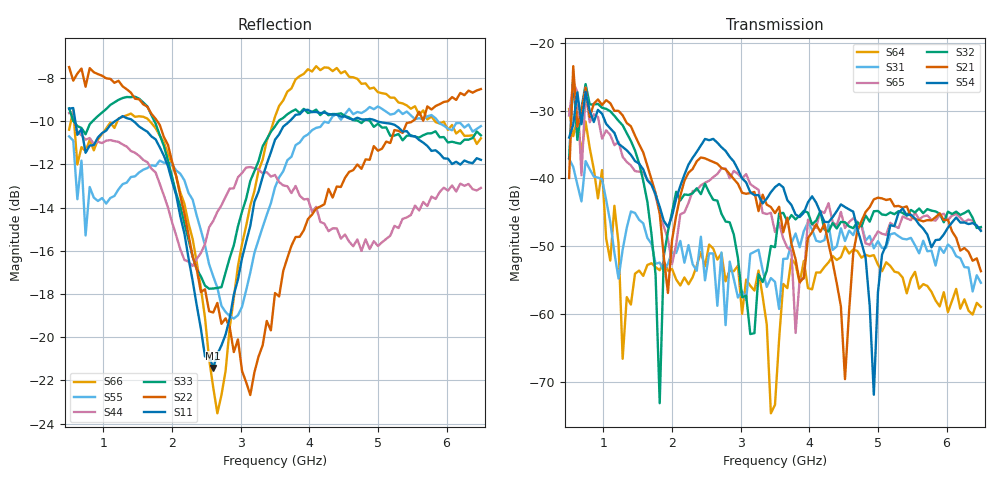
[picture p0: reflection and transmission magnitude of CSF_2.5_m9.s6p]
!Keysight Technologies,M9804A,MY58100912,A.14.10.03
!Date: Thursday, April 27, 2023 10:28:33
!Correction: S11(C  6-Port  )
!S12(C  6-Port  )
!S13(C  6-Port  )
!S14(C  6-Port  )
!S15(C  6-Port  )
!S16(C  6-Port  )
!S21(C  6-Port  )
!S22(C  6-Port  )
!S23(C  6-Port  )
!S24(C  6-Port  )
!S25(C  6-Port  )
!S26(C  6-Port  )
!S31(C  6-Port  )
!S32(C  6-Port  )
!S33(C  6-Port  )
!S34(C  6-Port  )
!S35(C  6-Port  )
!S36(C  6-Port  )
!S41(C  6-Port  )
!S42(C  6-Port  )
!S43(C  6-Port  )
!S44(C  6-Port  )
!S45(C  6-Port  )
!S46(C  6-Port  )
!S51(C  6-Port  )
!S52(C  6-Port  )
!S53(C  6-Port  )
!S54(C  6-Port  )
!S55(C  6-Port  )
!S56(C  6-Port  )
!S61(C  6-Port  )
!S62(C  6-Port  )
!S63(C  6-Port  )
!S64(C  6-Port  )
!S65(C  6-Port  )
!S66(C  6-Port  )
!S6P File: Measurement: :
# Hz S  RI  R 50
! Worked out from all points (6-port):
!   101 points, 500 MHz to 6.5 GHz, reference 50 ohm
!   strongest paths, dB at 500 MHz, 2 GHz, 3.5 GHz, 5 GHz, 6.5 GHz:
!     S54: -34.0, -45.5, -41.3, -56.8, -47.7
!     S21: -39.9, -49.0, -45.1, -42.8, -53.7
!     S32: -37.0, -45.0, -50.1, -44.8, -47.2
!     S65: -30.7, -52.6, -47.9, -47.8, -47.5
!     S31: -37.1, -50.8, -55.2, -49.3, -55.4
!     S64: -29.8, -53.3, -73.4, -52.7, -58.9
!   lowest |S11| = -21.4 dB at 2.6 GHz (marker M1), VSWR 1.19, Z = 42.5 + j2.21 ohm
!   |S11| at or under -10 dB: 589.3 MHz to 1.172 GHz (582.3 MHz wide, 66.1 % of centre); 1.436 GHz to 3.714 GHz (2.278 GHz wide, 88.5 % of centre); 4.981 GHz to end of sweep
